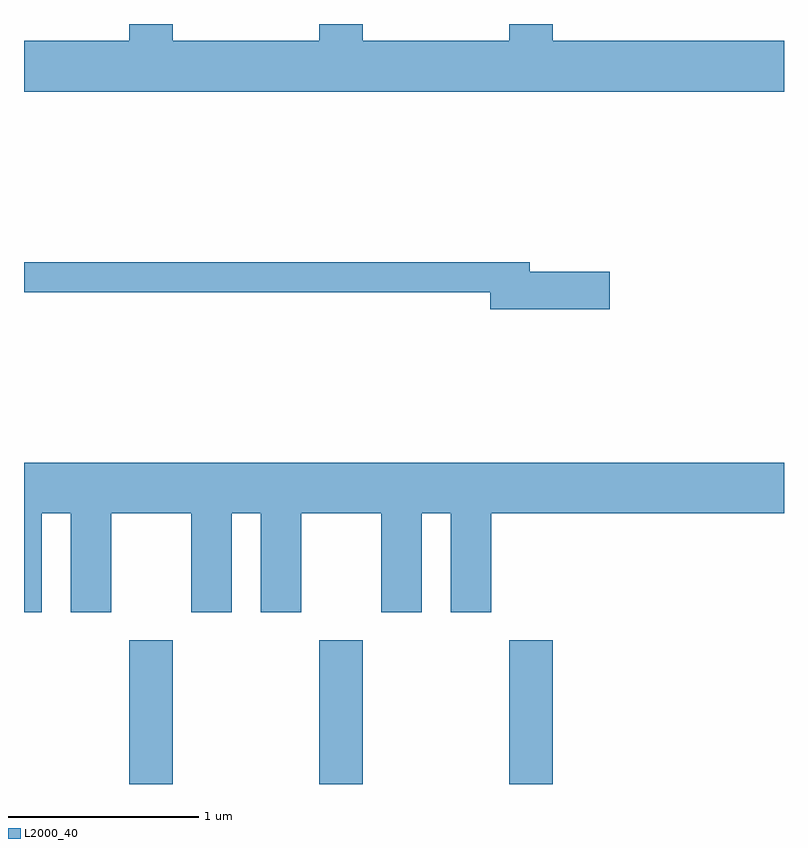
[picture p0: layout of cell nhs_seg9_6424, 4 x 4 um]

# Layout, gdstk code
import gdstk
lib = gdstk.Library(unit=1e-6, precision=1e-09)
def R(c, l, rs):  # rectangles x0, y0, x1, y1
    for r in rs: c.add(gdstk.rectangle(r[:2], r[2:], *l))
def A(c, l, x, y, w, h, nx, ny, dx, dy):  # array of equal rectangles
    R(c, l, [(x+i*dx, y+j*dy, x+i*dx+w, y+j*dy+h) for i in range(nx) for j in range(ny)])
def P(c, l, *ps):  # polygons
    for p in ps: c.add(gdstk.Polygon(p, *l))
L2000_40 = (2000, 40)

nhs_seg9_6424 = lib.new_cell('nhs_seg9_6424')
A(nhs_seg9_6424, L2000_40, 376.166, 1950.432, 0.228, 0.757, 3, 1, 1, 0)
P(nhs_seg9_6424, L2000_40, [(379.611,1954.344),(378.394,1954.344),(378.394,1954.432),(378.166,1954.432),(378.166,1954.344),(377.394,1954.344),(377.394,1954.432),(377.166,1954.432),(377.166,1954.344),(376.394,1954.344),(376.394,1954.432),(376.166,1954.432),(376.166,1954.344),(375.611,1954.344),(375.611,1954.076),(379.611,1954.076)],
  [(378.694,1953.129),(378.274,1953.129),(378.274,1953.179),(375.611,1953.179),(375.611,1953.021),(378.066,1953.021),(378.066,1952.931),(378.694,1952.931)],
  [(375.704,1951.856),(375.856,1951.856),(375.856,1951.336),(376.069,1951.336),(376.069,1951.856),(376.491,1951.856),(376.491,1951.336),(376.704,1951.336),(376.704,1951.856),(376.856,1951.856),(376.856,1951.336),(377.069,1951.336),(377.069,1951.856),(377.491,1951.856),(377.491,1951.336),(377.704,1951.336),(377.704,1951.856),(377.856,1951.856),(377.856,1951.336),(378.069,1951.336),(378.069,1951.856),(379.611,1951.856),(379.611,1952.124),(375.611,1952.124),(375.611,1951.336),(375.704,1951.336)])

lib.write_gds('nhs_seg9_6424.gds')
